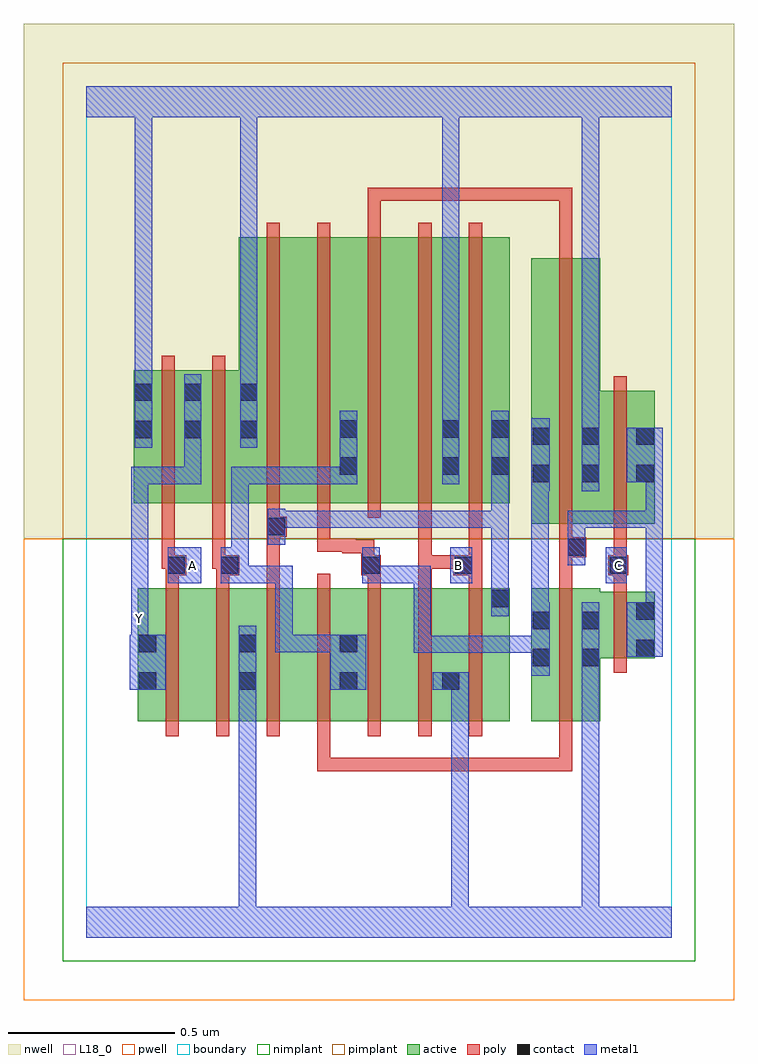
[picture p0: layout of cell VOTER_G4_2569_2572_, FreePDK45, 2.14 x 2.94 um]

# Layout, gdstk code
import gdstk
lib = gdstk.Library(unit=1e-6, precision=1e-09)
def R(c, l, rs):  # rectangles x0, y0, x1, y1
    for r in rs: c.add(gdstk.rectangle(r[:2], r[2:], *l))
def A(c, l, x, y, w, h, nx, ny, dx, dy):  # array of equal rectangles
    R(c, l, [(x+i*dx, y+j*dy, x+i*dx+w, y+j*dy+h) for i in range(nx) for j in range(ny)])
active = (1, 0)
pwell = (2, 0)
nwell = (3, 0)
nimplant = (4, 0)
pimplant = (5, 0)
poly = (9, 0)
contact = (10, 0)
metal1 = (11, 0)
L18_0 = (18, 0)
boundary = (235, 0)

voter_g4_2569_2572_ = lib.new_cell('VOTER_G4_2569_2572_')
R(voter_g4_2569_2572_, active, [(0.154,0.65,0.214,1.05), (0.154,0.65,0.334,1.05), (0.334,0.65,0.514,1.05), (0.454,0.65,0.638,1.05), (0.454,0.65,0.514,0.914), (0.638,0.65,0.818,1.05), (0.758,0.65,0.818,1.05), (0.758,0.65,0.942,1.05), (0.942,0.65,1.126,1.05), (1.066,0.65,1.274,1.05), (1.066,0.65,1.126,0.802), (1.214,0.65,1.274,1.05), (1.338,0.65,1.546,1.05), (1.338,0.65,1.398,1.05), (1.486,0.65,1.546,0.984), (1.486,0.84,1.71,1.04), (1.65,0.84,1.71,1.04), (1.338,1.244,1.546,2.044), (1.338,1.244,1.398,2.044), (1.486,1.244,1.71,1.644), (1.65,1.244,1.71,1.644), (0.142,1.306,0.35,1.706), (0.142,1.306,0.202,1.706), (0.29,1.306,0.35,1.706), (0.29,1.306,0.518,1.706), (0.458,1.306,0.638,2.106), (0.638,1.306,0.818,2.106), (0.758,1.306,0.818,2.044), (0.758,1.306,0.942,2.106), (0.942,1.306,1.126,2.106), (1.066,1.306,1.274,2.106), (1.214,1.306,1.274,2.044), (1.066,1.338,1.126,2.044), (1.486,1.366,1.546,2.044), (0.458,1.448,0.518,1.888)])
R(voter_g4_2569_2572_, pwell, [(-0.188,-0.188,1.948,1.2)])
R(voter_g4_2569_2572_, nwell, [(-0.188,1.2,1.948,2.748)])
R(voter_g4_2569_2572_, nimplant, [(-0.072,-0.072,1.832,1.2)])
R(voter_g4_2569_2572_, pimplant, [(-0.072,1.2,1.832,2.632)])
A(voter_g4_2569_2572_, poly, 0.238, 0.606, 0.04, 0.488, 7, 1, 0.152, 0)
A(voter_g4_2569_2572_, poly, 0.542, 1.262, 0.04, 0.888, 5, 1, 0.152, 0)
R(voter_g4_2569_2572_, poly, [(0.694,0.5,0.734,0.54), (0.694,0.5,0.734,0.646), (0.694,0.5,0.84,0.54), (0.8,0.5,0.84,0.54), (0.8,0.5,0.84,0.54), (0.8,0.5,0.84,0.54), (0.8,0.5,1.038,0.54), (0.998,0.5,1.038,0.54), (0.998,0.5,1.038,0.54), (0.998,0.5,1.038,0.54), (0.998,0.5,1.144,0.54), (1.104,0.5,1.144,0.54), (1.104,0.5,1.356,0.54), (1.316,0.5,1.356,0.54), (1.316,0.5,1.356,0.54), (1.316,0.5,1.356,0.54), (1.316,0.5,1.462,0.54), (1.422,0.5,1.462,0.54), (1.422,0.5,1.462,0.54), (1.422,0.5,1.462,0.54), (1.422,0.5,1.462,0.646), (1.422,0.606,1.462,1.094), (1.586,0.796,1.626,1.084), (1.586,1.044,1.626,1.13), (0.238,1.054,0.278,1.13), (0.39,1.054,0.43,1.13), (0.542,1.054,0.582,1.246), (0.846,1.054,0.886,1.13), (0.998,1.054,1.038,1.15), (1.15,1.054,1.19,1.13), (1.422,1.054,1.462,1.184), (0.238,1.09,0.3,1.15), (0.39,1.09,0.46,1.15), (0.826,1.09,0.886,1.15), (1.104,1.09,1.19,1.15), (1.57,1.09,1.63,1.15), (0.226,1.11,0.266,1.302), (0.226,1.11,0.278,1.15), (0.238,1.11,0.278,1.15), (0.378,1.11,0.418,1.302), (0.378,1.11,0.43,1.15), (0.39,1.11,0.43,1.15), (0.826,1.11,0.866,1.196), (0.998,1.11,1.038,1.15), (0.998,1.11,1.038,1.15), (0.998,1.11,1.038,1.15), (0.998,1.11,1.144,1.15), (0.998,1.11,1.038,1.302), (1.104,1.11,1.144,1.15), (1.104,1.11,1.144,1.15), (1.15,1.11,1.19,1.15), (1.15,1.11,1.19,1.15), (1.15,1.11,1.19,1.302), (1.586,1.11,1.626,1.24), (1.586,1.11,1.626,1.15), (1.586,1.11,1.626,1.15), (1.422,1.144,1.462,1.184), (1.422,1.144,1.462,1.184), (1.422,1.144,1.504,1.204), (0.77,1.156,0.866,1.196), (0.77,1.156,0.81,1.2), (0.826,1.156,0.866,1.196), (0.694,1.16,0.734,1.2), (0.694,1.16,0.81,1.2), (0.694,1.16,0.734,1.302), (1.422,1.164,1.462,1.24), (1.422,1.2,1.462,2.088), (1.586,1.2,1.626,1.688), (0.542,1.206,0.582,1.246), (0.542,1.206,0.582,1.246), (0.542,1.206,0.602,1.266), (0.542,1.226,0.582,1.302), (0.226,1.262,0.266,1.75), (0.378,1.262,0.418,1.75), (1.422,2.048,1.462,2.256), (0.846,2.11,0.886,2.256), (0.846,2.216,0.886,2.256), (0.846,2.216,1.038,2.256), (0.998,2.216,1.038,2.256), (0.998,2.216,1.038,2.256), (0.998,2.216,1.038,2.256), (0.998,2.216,1.144,2.256), (1.104,2.216,1.144,2.256), (1.104,2.216,1.356,2.256), (1.316,2.216,1.356,2.256), (1.316,2.216,1.356,2.256), (1.316,2.216,1.356,2.256), (1.316,2.216,1.462,2.256), (1.422,2.216,1.462,2.256), (1.422,2.216,1.462,2.256), (1.422,2.216,1.462,2.256)])
R(voter_g4_2569_2572_, contact, [(0.158,0.746,0.21,0.798), (0.458,0.746,0.51,0.798), (0.762,0.746,0.814,0.798), (1.07,0.746,1.122,0.798), (1.342,0.816,1.394,0.868), (1.49,0.816,1.542,0.868), (1.654,0.844,1.706,0.896), (0.158,0.858,0.21,0.91), (0.458,0.858,0.51,0.91), (0.762,0.858,0.814,0.91), (1.342,0.928,1.394,0.98), (1.49,0.928,1.542,0.98), (1.654,0.956,1.706,1.008), (1.218,0.994,1.27,1.046), (0.244,1.094,0.296,1.146), (0.404,1.094,0.456,1.146), (0.83,1.094,0.882,1.146), (1.108,1.094,1.16,1.146), (1.574,1.094,1.626,1.146), (1.448,1.148,1.5,1.2), (0.546,1.21,0.598,1.262), (1.342,1.37,1.394,1.422), (1.49,1.37,1.542,1.422), (1.654,1.37,1.706,1.422), (0.762,1.392,0.814,1.444), (1.07,1.392,1.122,1.444), (1.218,1.392,1.27,1.444), (1.342,1.482,1.394,1.534), (1.49,1.482,1.542,1.534), (1.654,1.482,1.706,1.534), (0.146,1.502,0.198,1.554), (0.294,1.502,0.346,1.554), (0.462,1.502,0.514,1.554), (0.762,1.504,0.814,1.556), (1.07,1.504,1.122,1.556), (1.218,1.504,1.27,1.556), (0.146,1.614,0.198,1.666), (0.294,1.614,0.346,1.666), (0.462,1.614,0.514,1.666)])
R(voter_g4_2569_2572_, metal1, [(0,0,1.76,0.092), (0.458,0.04,0.51,0.092), (0.458,0.04,0.51,0.092), (0.458,0.04,0.51,0.092), (0.458,0.04,0.51,0.092), (0.458,0.04,0.51,0.092), (0.458,0.04,0.51,0.092), (0.458,0.04,0.51,0.092), (0.458,0.04,0.51,0.092), (0.458,0.04,0.51,0.092), (0.458,0.04,0.51,0.092), (0.458,0.04,0.51,0.092), (0.458,0.04,0.51,0.092), (0.458,0.04,0.51,0.77), (1.098,0.04,1.15,0.092), (1.098,0.04,1.15,0.092), (1.098,0.04,1.15,0.092), (1.098,0.04,1.15,0.092), (1.098,0.04,1.15,0.092), (1.098,0.04,1.15,0.092), (1.098,0.04,1.15,0.092), (1.098,0.04,1.15,0.092), (1.098,0.04,1.15,0.092), (1.098,0.04,1.15,0.092), (1.098,0.04,1.15,0.092), (1.098,0.04,1.15,0.092), (1.098,0.04,1.15,0.798), (1.49,0.04,1.542,0.092), (1.49,0.04,1.542,0.092), (1.49,0.04,1.542,0.092), (1.49,0.04,1.542,0.092), (1.49,0.04,1.542,0.092), (1.49,0.04,1.542,0.092), (1.49,0.04,1.542,0.092), (1.49,0.04,1.542,0.092), (1.49,0.04,1.542,0.092), (1.49,0.04,1.542,0.092), (1.49,0.04,1.542,0.84), (0.458,0.718,0.51,0.938), (0.13,0.746,0.238,0.91), (0.734,0.746,0.842,0.91), (1.042,0.746,1.15,0.798), (1.338,0.788,1.394,1.008), (1.49,0.788,1.542,0.84), (1.49,0.788,1.542,0.84), (1.49,0.788,1.542,1.008), (1.626,0.844,1.734,1.008), (0.984,0.856,1.036,0.908), (0.984,0.856,1.036,1.118), (0.984,0.856,1.19,0.908), (1.138,0.856,1.19,0.908), (1.138,0.856,1.39,0.908), (1.338,0.856,1.39,0.908), (1.338,0.856,1.39,0.908), (0.134,0.858,0.186,0.958), (0.568,0.858,0.62,0.91), (0.568,0.858,0.772,0.91), (0.568,0.858,0.62,1.118), (0.72,0.858,0.772,0.91), (0.72,0.858,0.786,0.91), (0.134,0.906,0.186,1.014), (1.338,0.956,1.39,1.394), (1.682,0.956,1.734,1.284), (1.682,0.956,1.734,1.008), (1.682,0.956,1.734,1.008), (0.134,0.962,0.186,1.416), (1.218,0.966,1.27,1.074), (1.218,1.022,1.27,1.284), (0.244,1.066,0.346,1.174), (0.404,1.066,0.456,1.174), (0.404,1.066,0.488,1.118), (0.436,1.066,0.488,1.118), (0.436,1.066,0.62,1.118), (0.436,1.066,0.488,1.416), (0.568,1.066,0.62,1.118), (0.568,1.066,0.62,1.118), (0.568,1.066,0.62,1.118), (0.83,1.066,0.882,1.118), (0.83,1.066,0.882,1.118), (0.83,1.066,0.882,1.174), (0.83,1.066,1.036,1.118), (0.984,1.066,1.036,1.118), (0.984,1.066,1.036,1.118), (0.984,1.066,1.036,1.118), (0.984,1.066,1.036,1.118), (0.984,1.066,1.036,1.118), (1.094,1.066,1.16,1.174), (1.562,1.066,1.626,1.174), (1.448,1.12,1.5,1.228), (1.448,1.176,1.5,1.228), (1.448,1.176,1.5,1.284), (0.546,1.182,0.598,1.29), (0.546,1.232,0.598,1.284), (0.546,1.232,0.598,1.284), (0.546,1.232,0.772,1.284), (0.72,1.232,0.772,1.284), (0.72,1.232,0.772,1.284), (0.72,1.232,0.772,1.284), (0.72,1.232,0.882,1.284), (0.83,1.232,0.882,1.284), (0.83,1.232,0.882,1.284), (0.83,1.232,0.882,1.284), (0.83,1.232,0.992,1.284), (0.94,1.232,0.992,1.284), (0.94,1.232,0.992,1.284), (0.94,1.232,0.992,1.284), (0.94,1.232,1.27,1.284), (1.218,1.232,1.27,1.284), (1.218,1.232,1.27,1.284), (1.218,1.232,1.27,1.284), (1.218,1.232,1.27,1.284), (1.218,1.232,1.27,1.284), (1.218,1.232,1.27,1.416), (1.448,1.232,1.734,1.284), (1.682,1.232,1.734,1.422), (1.682,1.232,1.734,1.284), (1.682,1.232,1.734,1.284), (1.682,1.232,1.734,1.284), (1.338,1.342,1.39,1.394), (1.338,1.342,1.39,1.394), (1.338,1.342,1.39,1.394), (1.338,1.342,1.39,1.394), (1.338,1.342,1.39,1.394), (1.338,1.342,1.39,1.394), (1.338,1.342,1.394,1.562), (1.49,1.342,1.542,1.562), (0.134,1.364,0.186,1.416), (0.134,1.364,0.346,1.416), (0.294,1.364,0.346,1.416), (0.294,1.364,0.346,1.416), (0.294,1.364,0.346,1.416), (0.294,1.364,0.346,1.526), (0.436,1.364,0.488,1.416), (0.436,1.364,0.488,1.416), (0.436,1.364,0.488,1.416), (0.436,1.364,0.662,1.416), (0.61,1.364,0.662,1.416), (0.61,1.364,0.662,1.416), (0.61,1.364,0.662,1.416), (0.61,1.364,0.772,1.416), (0.72,1.364,0.772,1.416), (0.72,1.364,0.814,1.416), (0.762,1.364,0.814,1.584), (1.07,1.364,1.122,1.584), (1.218,1.364,1.27,1.584), (1.626,1.37,1.734,1.534), (0.146,1.474,0.198,1.694), (0.294,1.474,0.346,1.694), (0.462,1.474,0.514,1.694), (1.49,1.51,1.542,1.562), (1.49,1.51,1.542,1.562), (1.49,1.51,1.542,2.52), (1.07,1.532,1.122,1.584), (1.07,1.532,1.122,1.584), (1.07,1.532,1.122,2.52), (0.146,1.642,0.198,1.694), (0.146,1.642,0.198,1.694), (0.146,1.642,0.198,1.694), (0.146,1.642,0.198,1.694), (0.146,1.642,0.198,1.694), (0.146,1.642,0.198,1.694), (0.146,1.642,0.198,1.694), (0.146,1.642,0.198,1.694), (0.146,1.642,0.198,1.694), (0.146,1.642,0.198,1.694), (0.146,1.642,0.198,1.694), (0.146,1.642,0.198,1.694), (0.146,1.642,0.198,1.694), (0.146,1.642,0.198,1.694), (0.146,1.642,0.198,2.52), (0.462,1.642,0.514,1.694), (0.462,1.642,0.514,1.694), (0.462,1.642,0.514,2.52), (0,2.468,1.76,2.56), (0.146,2.468,0.198,2.52), (0.146,2.468,0.198,2.52), (0.462,2.468,0.514,2.52), (0.462,2.468,0.514,2.52), (0.462,2.468,0.514,2.52), (0.462,2.468,0.514,2.52), (0.462,2.468,0.514,2.52), (0.462,2.468,0.514,2.52), (1.07,2.468,1.122,2.52), (1.07,2.468,1.122,2.52), (1.07,2.468,1.122,2.52), (1.07,2.468,1.122,2.52), (1.07,2.468,1.122,2.52), (1.07,2.468,1.122,2.52), (1.49,2.468,1.542,2.52), (1.49,2.468,1.542,2.52), (1.49,2.468,1.542,2.52), (1.49,2.468,1.542,2.52), (1.49,2.468,1.542,2.52), (1.49,2.468,1.542,2.52)])
R(voter_g4_2569_2572_, L18_0, [(0,0,1.76,0.092), (0.458,0.04,0.51,0.092), (0.458,0.04,0.51,0.092), (0.458,0.04,0.51,0.092), (0.458,0.04,0.51,0.092), (0.458,0.04,0.51,0.092), (0.458,0.04,0.51,0.092), (0.458,0.04,0.51,0.092), (0.458,0.04,0.51,0.092), (0.458,0.04,0.51,0.092), (0.458,0.04,0.51,0.092), (0.458,0.04,0.51,0.092), (0.458,0.04,0.51,0.092), (0.458,0.04,0.51,0.77), (1.098,0.04,1.15,0.092), (1.098,0.04,1.15,0.092), (1.098,0.04,1.15,0.092), (1.098,0.04,1.15,0.092), (1.098,0.04,1.15,0.092), (1.098,0.04,1.15,0.092), (1.098,0.04,1.15,0.092), (1.098,0.04,1.15,0.092), (1.098,0.04,1.15,0.092), (1.098,0.04,1.15,0.092), (1.098,0.04,1.15,0.092), (1.098,0.04,1.15,0.092), (1.098,0.04,1.15,0.798), (1.49,0.04,1.542,0.092), (1.49,0.04,1.542,0.092), (1.49,0.04,1.542,0.092), (1.49,0.04,1.542,0.092), (1.49,0.04,1.542,0.092), (1.49,0.04,1.542,0.092), (1.49,0.04,1.542,0.092), (1.49,0.04,1.542,0.092), (1.49,0.04,1.542,0.092), (1.49,0.04,1.542,0.092), (1.49,0.04,1.542,0.84), (0.458,0.718,0.51,0.938), (0.13,0.746,0.238,0.91), (1.042,0.746,1.15,0.798), (1.49,0.788,1.542,0.84), (1.49,0.788,1.542,0.84), (1.49,0.788,1.542,1.008), (0.134,0.858,0.186,0.958), (0.134,0.906,0.186,1.014), (0.134,0.934,0.186,0.986), (0.134,0.962,0.186,1.416), (0.244,1.066,0.346,1.174), (1.094,1.066,1.16,1.174), (1.562,1.066,1.626,1.174), (0.294,1.094,0.346,1.146), (1.094,1.094,1.146,1.146), (1.574,1.094,1.626,1.146), (1.49,1.342,1.542,1.562), (0.134,1.364,0.186,1.416), (0.134,1.364,0.346,1.416), (0.294,1.364,0.346,1.416), (0.294,1.364,0.346,1.416), (0.294,1.364,0.346,1.416), (0.294,1.364,0.346,1.526), (1.07,1.364,1.122,1.584), (0.146,1.474,0.198,1.694), (0.294,1.474,0.346,1.694), (0.462,1.474,0.514,1.694), (1.49,1.51,1.542,1.562), (1.49,1.51,1.542,1.562), (1.49,1.51,1.542,2.52), (1.07,1.532,1.122,1.584), (1.07,1.532,1.122,1.584), (1.07,1.532,1.122,2.52), (0.146,1.642,0.198,1.694), (0.146,1.642,0.198,1.694), (0.146,1.642,0.198,1.694), (0.146,1.642,0.198,1.694), (0.146,1.642,0.198,1.694), (0.146,1.642,0.198,1.694), (0.146,1.642,0.198,1.694), (0.146,1.642,0.198,1.694), (0.146,1.642,0.198,1.694), (0.146,1.642,0.198,1.694), (0.146,1.642,0.198,1.694), (0.146,1.642,0.198,1.694), (0.146,1.642,0.198,1.694), (0.146,1.642,0.198,1.694), (0.146,1.642,0.198,2.52), (0.462,1.642,0.514,1.694), (0.462,1.642,0.514,1.694), (0.462,1.642,0.514,2.52), (0,2.468,1.76,2.56), (0.146,2.468,0.198,2.52), (0.146,2.468,0.198,2.52), (0.462,2.468,0.514,2.52), (0.462,2.468,0.514,2.52), (0.462,2.468,0.514,2.52), (0.462,2.468,0.514,2.52), (0.462,2.468,0.514,2.52), (0.462,2.468,0.514,2.52), (1.07,2.468,1.122,2.52), (1.07,2.468,1.122,2.52), (1.07,2.468,1.122,2.52), (1.07,2.468,1.122,2.52), (1.07,2.468,1.122,2.52), (1.07,2.468,1.122,2.52), (1.49,2.468,1.542,2.52), (1.49,2.468,1.542,2.52), (1.49,2.468,1.542,2.52), (1.49,2.468,1.542,2.52), (1.49,2.468,1.542,2.52), (1.49,2.468,1.542,2.52)])
R(voter_g4_2569_2572_, boundary, [(0,0,1.76,2.56)])
voter_g4_2569_2572_.add(gdstk.Label('A', (0.32,1.12), layer=11, texttype=0))
voter_g4_2569_2572_.add(gdstk.Label('B', (1.12,1.12), layer=11, texttype=0))
voter_g4_2569_2572_.add(gdstk.Label('C', (1.6,1.12), layer=11, texttype=0))
voter_g4_2569_2572_.add(gdstk.Label('Y', (0.16,0.96), layer=11, texttype=0))

lib.write_gds('VOTER_G4_2569_2572_.gds')
